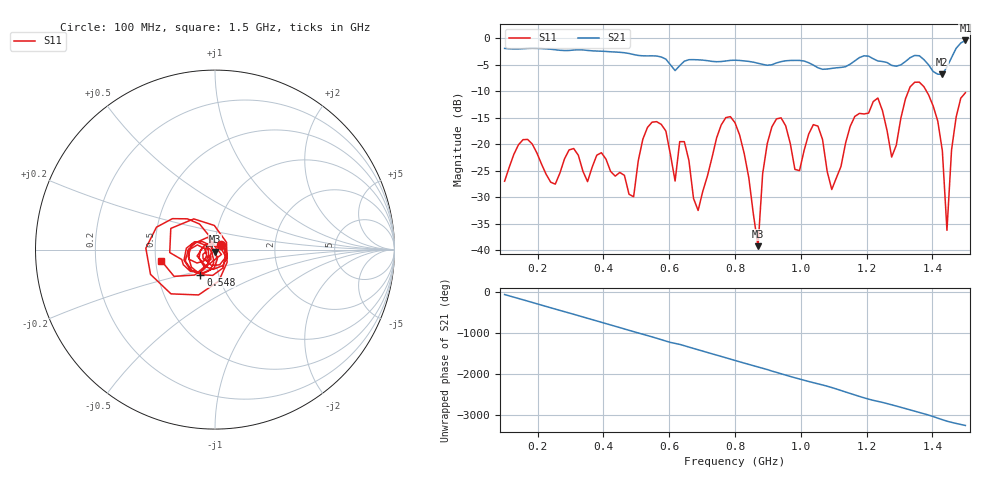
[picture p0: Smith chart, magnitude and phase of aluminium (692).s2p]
! NanoVNA-App
! Date: 2025-09-25 15:00:40
! Start: 100MHz Stop: 1,5GHz Points: 101
! S-Parameter data: F S11 S21 S12 S22
# Hz S RI R 50
!  Frequency  S11_Real  S11_Imag  S21_Real  S21_Imag  S12_Real  S12_Imag  S22_Real  S22_Imag
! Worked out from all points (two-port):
!   101 points, 100 MHz to 1.5 GHz, reference 50 ohm
!   highest |S21| = -0.42 dB at 1.5 GHz (marker M1); lowest = -6.8 dB at 1.43 GHz (marker M2)
!   |S21| within 3 dB of the highest: start of sweep to 567 MHz; 1.46 GHz to end of sweep (the widest 2 of 4)
!   lowest |S11| = -39.2 dB at 870 MHz (marker M3), VSWR 1.02, Z = 50.1 - j1.09 ohm
!   |S11| at or under -10 dB: start of sweep to 1.327 GHz; 1.382 GHz to end of sweep
!   S12 and S22 are empty: the file has one direction only
!   S11 on the Smith chart (normalised r, x): 100 MHz: 1.07, +0.06; 548 MHz: 0.82, -0.23; 1.5 GHz: 0.53, -0.07
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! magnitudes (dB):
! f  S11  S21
! 100 MHz  -27.0  -1.9
! 156 MHz  -19.1  -2.0
! 338 MHz  -25.1  -2.2
! 492 MHz  -29.9  -3.1
! 548 MHz  -15.8  -3.3
! 576 MHz  -16.2  -3.5
! 618 MHz  -26.9  -6.1
! 646 MHz  -19.5  -4.3
! 688 MHz  -32.5  -4.1
! 800 MHz  -15.9  -4.1
! 870 MHz  -39.2  -4.7
! 912 MHz  -16.7  -5.0
! 996 MHz  -25.0  -4.2
! 1.038 GHz  -16.3  -5.1
! 1.094 GHz  -28.5  -5.7
! 1.234 GHz  -11.3  -4.3
! 1.276 GHz  -22.4  -5.1
! 1.346 GHz  -8.3  -3.2
! 1.43 GHz  -21.2  -6.8
! 1.444 GHz  -36.2  -5.4
! 1.458 GHz  -21.0  -3.6
! 1.5 GHz  -10.3  -0.4
